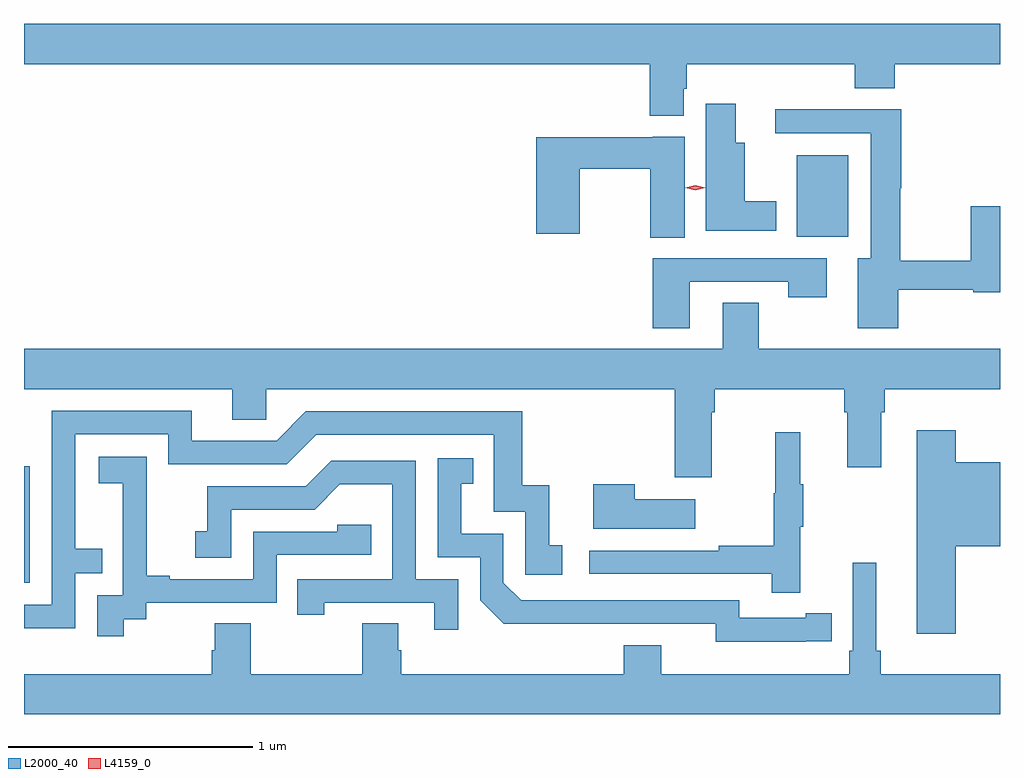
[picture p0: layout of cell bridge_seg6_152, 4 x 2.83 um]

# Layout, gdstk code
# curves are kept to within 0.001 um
import gdstk
lib = gdstk.Library(unit=1e-6, precision=1e-09)
def R(c, l, rs):  # rectangles x0, y0, x1, y1
    for r in rs: c.add(gdstk.rectangle(r[:2], r[2:], *l))
def P(c, l, *ps):  # polygons
    for p in ps: c.add(gdstk.Polygon(p, *l))
L2000_40 = (2000, 40)
L4159_0 = (4159, 0)

bridge_seg6_152 = lib.new_cell('bridge_seg6_152')
R(bridge_seg6_152, L2000_40, [(538.191,922.566,538.215,923.043), (541.358,923.984,541.57,924.319)])
P(bridge_seg6_152, L2000_40, [(540.895,924.591),(540.908,924.591),(540.908,924.692),(541.595,924.692),(541.595,924.593),(541.76,924.593),(541.76,924.692),(542.191,924.692),(542.191,924.856),(538.191,924.856),(538.191,924.692),(540.755,924.692),(540.755,924.479),(540.895,924.479)],
  [(541.273,924.13),(541.144,924.13),(541.144,924.37),(541.108,924.37),(541.108,924.529),(540.986,924.529),(540.986,924.008),(541.273,924.008)],
  [(541.774,923.767),(542.082,923.767),(542.082,923.756),(542.191,923.756),(542.191,924.109),(542.071,924.109),(542.071,923.885),(541.782,923.885),(541.782,924.182),(541.787,924.182),(541.787,924.506),(541.269,924.506),(541.269,924.408),(541.661,924.408),(541.661,923.896),(541.607,923.896),(541.607,923.61),(541.774,923.61)],
  [(540.898,924.394),(540.768,924.394),(540.768,924.391),(540.29,924.391),(540.29,923.997),(540.468,923.997),(540.468,924.262),(540.757,924.262),(540.757,923.98),(540.898,923.98)],
  [(540.919,923.799),(541.324,923.799),(541.324,923.736),(541.48,923.736),(541.48,923.895),(540.767,923.895),(540.767,923.61),(540.919,923.61)],
  [(541.009,923.264),(541.022,923.264),(541.022,923.36),(541.553,923.36),(541.553,923.264),(541.565,923.264),(541.565,923.04),(541.705,923.04),(541.705,923.264),(541.718,923.264),(541.718,923.36),(542.191,923.36),(542.191,923.524),(541.203,923.524),(541.203,923.714),(541.055,923.714),(541.055,923.524),(538.191,923.524),(538.191,923.36),(539.045,923.36),(539.045,923.233),(539.184,923.233),(539.184,923.36),(540.857,923.36),(540.857,922.998),(541.009,922.998)],
  [(538.401,922.605),(538.511,922.605),(538.511,922.706),(538.401,922.706),(538.401,923.175),(538.782,923.175),(538.782,923.052),(539.268,923.052),(539.388,923.172),(540.117,923.172),(540.117,922.857),(540.246,922.857),(540.246,922.599),(540.397,922.599),(540.397,922.719),(540.344,922.719),(540.344,922.966),(540.233,922.966),(540.233,923.268),(539.346,923.268),(539.226,923.148),(538.879,923.148),(538.879,923.271),(538.305,923.271),(538.305,922.476),(538.191,922.476),(538.191,922.38),(538.401,922.38)],
  [(542.009,922.715),(542.191,922.715),(542.191,923.059),(542.009,923.059),(542.009,923.191),(541.85,923.191),(541.85,922.356),(542.009,922.356)],
  [(541.373,922.795),(541.384,922.795),(541.384,922.969),(541.373,922.969),(541.373,923.182),(541.27,923.182),(541.27,922.932),(541.263,922.932),(541.263,922.718),(541.039,922.718),(541.039,922.698),(540.507,922.698),(540.507,922.602),(541.255,922.602),(541.255,922.524),(541.373,922.524)],
  [(538.6,922.417),(538.692,922.417),(538.692,922.485),(539.226,922.485),(539.226,922.68),(539.615,922.68),(539.615,922.803),(539.475,922.803),(539.475,922.776),(539.13,922.776),(539.13,922.581),(538.789,922.581),(538.789,922.594),(538.694,922.594),(538.694,922.877),(538.695,922.877),(538.695,923.083),(538.497,923.083),(538.497,922.973),(538.595,922.973),(538.595,922.745),(538.596,922.745),(538.596,922.515),(538.491,922.515),(538.491,922.347),(538.6,922.347)],
  [(541.394,922.326),(541.502,922.326),(541.502,922.442),(541.394,922.442),(541.394,922.422),(541.122,922.422),(541.122,922.494),(540.228,922.494),(540.156,922.566),(540.156,922.767),(539.983,922.767),(539.983,922.971),(540.032,922.971),(540.032,923.077),(539.886,923.077),(539.886,922.671),(540.06,922.671),(540.06,922.494),(540.158,922.397),(541.026,922.398),(541.026,922.325)],
  [(539.97,922.581),(539.796,922.581),(539.796,923.067),(539.45,923.067),(539.345,922.962),(538.942,922.962),(538.942,922.777),(538.893,922.777),(538.893,922.668),(539.04,922.668),(539.04,922.866),(539.382,922.866),(539.486,922.97),(539.7,922.97),(539.7,922.581),(539.311,922.581),(539.311,922.434),(539.422,922.434),(539.422,922.485),(539.873,922.485),(539.873,922.374),(539.97,922.374)],
  [(540.943,922.909),(540.695,922.909),(540.695,922.969),(540.524,922.969),(540.524,922.787),(540.943,922.787)],
  [(542.191,922.192),(541.703,922.192),(541.703,922.288),(541.684,922.288),(541.684,922.648),(541.587,922.648),(541.587,922.288),(541.574,922.288),(541.574,922.192),(540.802,922.192),(540.802,922.309),(540.65,922.309),(540.65,922.192),(539.738,922.192),(539.738,922.29),(539.725,922.29),(539.725,922.4),(539.578,922.4),(539.578,922.192),(539.121,922.192),(539.121,922.4),(538.973,922.4),(538.973,922.29),(538.961,922.29),(538.961,922.192),(538.191,922.192),(538.191,922.028),(542.191,922.028)])
P(bridge_seg6_152, L4159_0, [(540.942,924.175),(540.902,924.184),(540.902,924.184),(540.902,924.184),(540.942,924.195),(540.982,924.185),(540.982,924.185),(540.982,924.185)])

lib.write_gds('bridge_seg6_152.gds')
